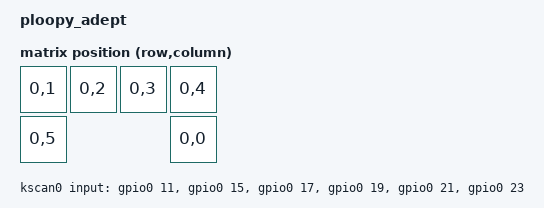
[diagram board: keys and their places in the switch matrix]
/*
 * Copyright (c) 2025, George Norton
 * SPDX-License-Identifier: MIT
 */

/dts-v1/;

#include <rpi_pico/rp2040.dtsi>
#include "ploopy_adept-pinctrl.dtsi"
#include "ploopy_adept-layouts.dtsi"
#include <dt-bindings/zmk/matrix_transform.h>
#include <freq.h>

/ {
    model = "ploopy_adept";
    compatible = "ploopy_adept", "raspberrypi,rp2040";

    chosen {
        zephyr,sram = &sram0;
        zephyr,flash = &flash0;
        zephyr,flash-controller = &ssi;
        zephyr,code-partition = &code_partition;
        zmk,kscan = &kscan0;
    };

    xtal_clk: xtal-clk {
        compatible = "fixed-clock";
        clock-frequency = <12000000>;
        #clock-cells = <0>;
    };

    kscan0: kscan_0 {
        compatible = "zmk,kscan-gpio-direct";
        input-gpios
            = <&gpio0 11 (GPIO_ACTIVE_LOW | GPIO_PULL_UP)> // MB3
            , <&gpio0 15 (GPIO_ACTIVE_LOW | GPIO_PULL_UP)> // MB4
            , <&gpio0 17 (GPIO_ACTIVE_LOW | GPIO_PULL_UP)> // MB5
            , <&gpio0 19 (GPIO_ACTIVE_LOW | GPIO_PULL_UP)> // Drag Scroll
            , <&gpio0 21 (GPIO_ACTIVE_LOW | GPIO_PULL_UP)> // MB2
            , <&gpio0 23 (GPIO_ACTIVE_LOW | GPIO_PULL_UP)> // MB1
            ;
    };

    default_transform: matrix_transform {
        compatible = "zmk,matrix-transform";
        rows = <1>;
        columns = <6>;
        map = <
            RC(0,1) RC(0,2) RC(0,3) RC(0,4)
            RC(0,5)                 RC(0,0)
        >;
    };

    sleep_config: rp2040_sleep {
        compatible = "raspberrypi,rp2040-sleep";
        sleep-en0 = <0x140001>;
        sleep-en1 = <0x6c00>;
        enable-en0 = <0xf3ffcf3f>;
        enable-en1 = <0x7c3f>;
        deep-sleep;
    };
};

&physical_layout0 {
    kscan = <&kscan0>;
    transform = <&default_transform>;
};

#define PLOOPY_ADEPT_FLASH_SIZE_M 16

&flash0 {
    /* 16MB of flash minus the 0x100 used for
     * the second stage bootloader
     */
    reg = <0x10000000 DT_SIZE_M(PLOOPY_ADEPT_FLASH_SIZE_M)>;

    partitions {
        compatible = "fixed-partitions";
        #address-cells = <1>;
        #size-cells = <1>;

        /* Reserved memory for the second stage bootloader */
        second_stage_bootloader: partition@0 {
            reg = <0x00000000 0x100>;
            read-only;
        };

        /*
         * Start at the beginning of usable flash, PLOOPY_ADEPT_FLASH_SIZE_M MB minus the
         * second stage space and the 16 KiB reserved for settings
         */
        code_partition: partition@100 {
            label = "code";
            reg = <0x100 (DT_SIZE_M(PLOOPY_ADEPT_FLASH_SIZE_M) - 0x100 - DT_SIZE_K(16))>;
            read-only;
        };


        /* Set 16Kb of storage at the end of the of flash */
        storage_partition: partition@FFC000 {
            reg = <(DT_SIZE_M(PLOOPY_ADEPT_FLASH_SIZE_M) - DT_SIZE_K(16)) DT_SIZE_K(16)>;
        };
    };
};

&spi0 {
    pinctrl-0 = <&spi0_default>;
    pinctrl-names = "default";
    status = "okay";
    cs-gpios = <&gpio0 5 GPIO_ACTIVE_LOW>;
    clock-frequency = <DT_FREQ_M(2)>;
    mouse: mouse@0 {
        compatible = "pixart,pmw3360";
        status = "okay";
        reg = <0>;
        spi-max-frequency = <DT_FREQ_M(2)>;

        // pmw3360 driver parameters
        irq-gpios = <&gpio0 9 (GPIO_ACTIVE_LOW | GPIO_PULL_UP)>;
        cpi = <900>;
    };
};

/ {
    mouse_listener {
        compatible = "zmk,input-listener";
        device = <&mouse>;
    };
};

&gpio0 {
    status = "okay";
    gpio-reserved-ranges = < 1 3 4 6 8 10 14 16 18 20 22 24 25 26 27 28 29 >;
};

zephyr_udc0: &usbd {
    status = "okay";
};

&vreg {
    regulator-always-on;
    regulator-allowed-modes = <REGULATOR_RPI_PICO_MODE_NORMAL>;
};
